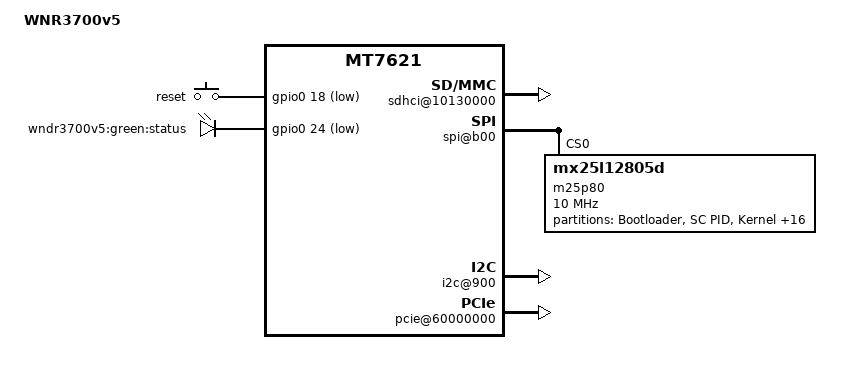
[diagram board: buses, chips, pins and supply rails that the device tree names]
/dts-v1/;

/include/ "mt7621.dtsi"

/ {
	compatible = "mediatek,mt7621-eval-board", "mediatek,mt7621-soc";
	model = "WNR3700v5";

	chosen {
		bootargs = "console=ttyS1,57600n8 root=/dev/mtdblock3 keep_bootcon=1";
	};

	sdhci@10130000 {
		status = "okay";
	};

	palmbus@1E000000 {
		spi@b00 {
			status = "okay";

			m25p80@0 {
				#address-cells = <1>;
				#size-cells = <1>;
				compatible = "mx25l12805d";
				reg = <0 0>;
				linux,modalias = "m25p80";
				spi-max-frequency = <10000000>;

				partition@0 {
					label = "Bootloader";
					reg = <0x0 0x40000>;
					read-only;
				};

				partition@40000 {
					label = "SC PID";
					reg = <0x40000 0x50000>;
					read-only;
				};

				partition@50000 {
					label = "Kernel";
					reg = <0x50000 0x2d0000>;
					read-only;
				};

				partition@2d0000 {
					label = "Rootfs";
					reg = <0x2d0000 0xe70000>;
				};

				partition@e70000 {
					label = "ML1";
					reg = <0xe70000 0xe90000>;
				};

				partition@e90000 {
					label = "ML2";
					reg = <0xe90000 0xb0000>;
				};

				partition@eb0000 {
					label = "ML3";
					reg = <0xeb0000 0xed0000>;
				};

				partition@ed0000 {
					label = "ML4";
					reg = <0xed0000 0xf10000>;
				};

				partition@f10000 {
					label = "ML5";
					reg = <0xf10000 0xf30000>;
				};

				factory: partition@f30000 {
					label = "Factory";
					reg = <0xf30000 0xf40000>;
					read-only;
				};

				partition@f40000 {
					label = "SC Private Data";
					reg = <0xf40000 0xf50000>;
				};

				partition@f50000 {
					label = "POT";
					reg = <0xf50000 0xf60000>;
				};

				partition@f60000 {
					label = "Traffic Meter";
					reg = <0xf60000 0xf80000>;
				};

				partition@f80000 {
					label = "DPF";
					reg = <0xf80000 0xf90000>;
				};

				partition@f90000 {
					label = "SC Nvram";
					reg = <0xf90000 0xfa0000>;
				};

				partition@fa0000 {
					label = "Ralink Nvram";
					reg = <0xfa0000 0xfb0000>;
				};

				partition@fb0000 {
					label = "Ralink Reserved";
					reg = <0xfb0000 0xfd0000>;
				};

				partition@fd0000 {
					label = "ML6";
					reg = <0xfd0000 0xff0000>;
				};

				partition@ff0000 {
					label = "Upgrade Flag";
					reg = <0xff0000 0x1000000>;
				};

			};
		};

		i2c@900 {
			compatible = "ralink,i2c-mt7621";
			reg = <0x900 0x100>;
			#address-cells = <1>;
			#size-cells = <0>;
			pinctrl-names = "default";
			pinctrl-0 = <&i2c_pins>;
			status = "okay";
		};
	};

    pcie@60000000 {
        status = "okay";

        pcie0 {
            mt76@0,0 {
                reg = <0x0000 0 0 0 0>;
                device_type = "pci";
                mediatek,mtd-eeprom = <&factory 0x8000>;
                mediatek,2ghz = <0>;
            };
        };

        pcie1 {
            mt76@1,0 {
                reg = <0x0000 0 0 0 0>;
                device_type = "pci";
                mediatek,mtd-eeprom = <&factory 0x0000>;
                mediatek,5ghz = <0>;
            };
        };
    };

	ethernet@1e100000 {
		mtd-mac-address = <&factory 0xe000>;
	};

	gpio-keys-polled {
		compatible = "gpio-keys-polled";
		#address-cells = <1>;
		#size-cells = <0>;
		poll-interval = <20>;

		reset {
			label = "reset";
			gpios = <&gpio0 18 1>;
			linux,code = <0x198>;
		};
	};

	gpio-leds {
		compatible = "gpio-leds";

		status {
			label = "wndr3700v5:green:status";
			gpios = <&gpio0 24 1>;
		};
	};

	pinctrl {
		state_default: pinctrl0 {
			gpio {
				ralink,group = "wdt", "rgmii2", "i2c", "mdio";
				ralink,function = "gpio";
			};
		};
	};
};
